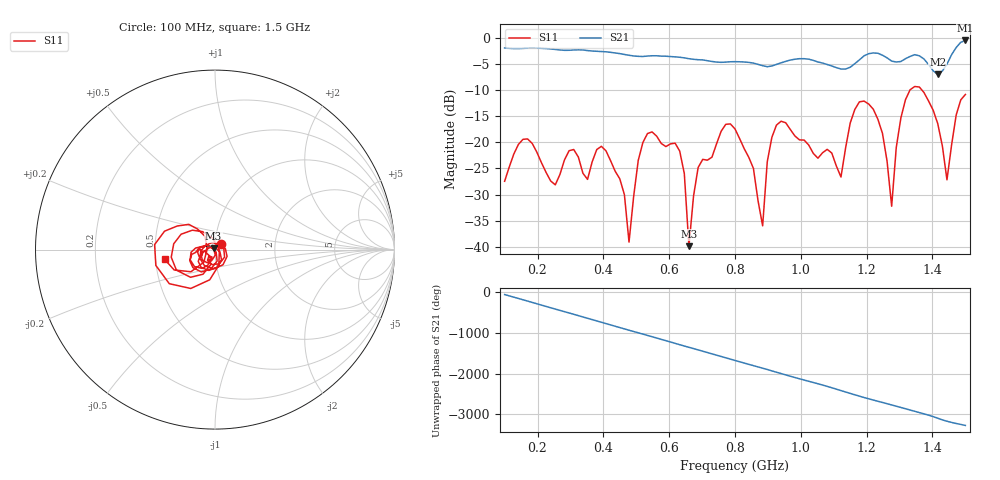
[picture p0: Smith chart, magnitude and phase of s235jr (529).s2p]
! NanoVNA-App
! Date: 2025-09-25 15:08:17
! Start: 100MHz Stop: 1,5GHz Points: 101
! S-Parameter data: F S11 S21 S12 S22
# Hz S RI R 50
!  Frequency  S11_Real  S11_Imag  S21_Real  S21_Imag  S12_Real  S12_Imag  S22_Real  S22_Imag
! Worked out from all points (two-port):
!   101 points, 100 MHz to 1.5 GHz, reference 50 ohm
!   highest |S21| = -0.53 dB at 1.5 GHz (marker M1); lowest = -7.0 dB at 1.416 GHz (marker M2)
!   |S21| within 3 dB of the highest: start of sweep to 498.7 MHz; 1.191 GHz to 1.253 GHz (61.9 MHz wide, 5.07 % of centre) (the widest 2 of 5)
!   lowest |S11| = -39.9 dB at 660 MHz (marker M3), VSWR 1.02, Z = 49.2 + j0.635 ohm
!   |S11| at or under -10 dB: start of sweep to 1.332 GHz; 1.368 GHz to end of sweep
!   S12 and S22 are empty: the file has one direction only
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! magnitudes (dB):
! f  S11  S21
! 100 MHz  -27.5  -2.0
! 156 MHz  -19.4  -2.1
! 338 MHz  -25.9  -2.4
! 408 MHz  -21.6  -2.7
! 478 MHz  -39.1  -3.4
! 520 MHz  -20.1  -3.6
! 576 MHz  -20.2  -3.5
! 632 MHz  -21.7  -3.7
! 660 MHz  -39.9  -4.0
! 688 MHz  -24.8  -4.2
! 800 MHz  -17.5  -4.6
! 884 MHz  -36.0  -5.4
! 926 MHz  -16.7  -5.1
! 1.038 GHz  -22.1  -4.3
! 1.122 GHz  -26.7  -6.0
! 1.206 GHz  -12.7  -3.1
! 1.248 GHz  -18.3  -3.4
! 1.276 GHz  -32.2  -4.5
! 1.332 GHz  -10.0  -3.6
! 1.416 GHz  -16.4  -7.0
! 1.444 GHz  -27.2  -5.1
! 1.5 GHz  -10.9  -0.5
